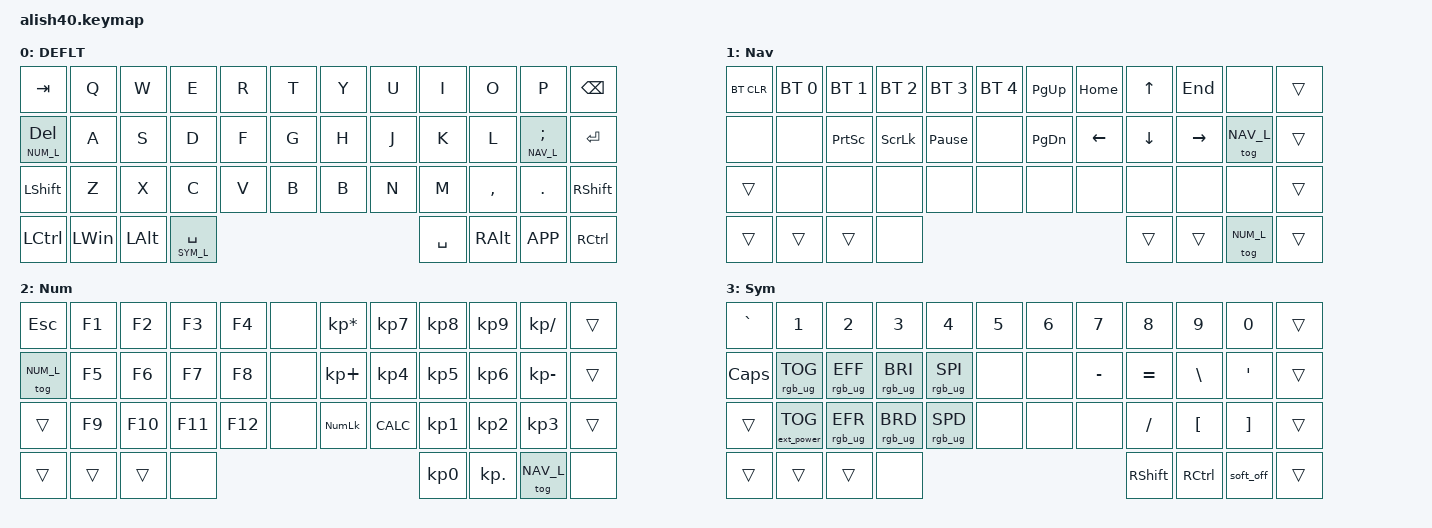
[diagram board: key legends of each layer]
#include "alish40-layouts.dtsi"
#include <behaviors.dtsi>
#include <dt-bindings/zmk/keys.h>
#include <dt-bindings/zmk/bt.h>
#include <dt-bindings/zmk/rgb.h>
#include <dt-bindings/zmk/ext_power.h>

#define MK(row, col) (((row) << 8) | (col))

#define NAV_L 1
#define NUM_L 2
#define SYM_L 3

&soft_off {
    hold-time-ms = <2000>; // Only turn off it the key is held for 2 seconds or longer.
};

/ {
    chosen {
        zmk,physical-layout = &phys_layout;
    };
     phys_layout: phys_layout {
        compatible = "zmk,physical-layout";
        display-name = "Default Layout";
        transform = <&default_transform>;
        kscan = <&default_kscan>;
        keys
            = <&zmk_key_physical_attrs 150 100 0 0 0 0 0>, <&zmk_key_physical_attrs 100 100 150 0 0 0 0>, <&zmk_key_physical_attrs 100 100 250 0 0 0 0>, <&zmk_key_physical_attrs 100 100 350 0 0 0 0>, <&zmk_key_physical_attrs 100 100 450 0 0 0 0>, <&zmk_key_physical_attrs 100 100 550 0 0 0 0>, <&zmk_key_physical_attrs 100 100 750 0 0 0 0>, <&zmk_key_physical_attrs 100 100 850 0 0 0 0>, <&zmk_key_physical_attrs 100 100 950 0 0 0 0>, <&zmk_key_physical_attrs 100 100 1050 0 0 0 0>, <&zmk_key_physical_attrs 100 100 1150 0 0 0 0>, <&zmk_key_physical_attrs 150 100 1250 0 0 0 0>
            , <&zmk_key_physical_attrs 175 100 0 100 0 0 0>, <&zmk_key_physical_attrs 100 100 175 100 0 0 0>, <&zmk_key_physical_attrs 100 100 275 100 0 0 0>, <&zmk_key_physical_attrs 100 100 375 100 0 0 0>, <&zmk_key_physical_attrs 100 100 475 100 0 0 0>, <&zmk_key_physical_attrs 100 100 575 100 0 0 0>, <&zmk_key_physical_attrs 100 100 775 100 0 0 0>, <&zmk_key_physical_attrs 100 100 875 100 0 0 0>, <&zmk_key_physical_attrs 100 100 975 100 0 0 0>, <&zmk_key_physical_attrs 100 100 1075 100 0 0 0>, <&zmk_key_physical_attrs 100 100 1175 100 0 0 0>, <&zmk_key_physical_attrs 125 100 1275 100 0 0 0>
            , <&zmk_key_physical_attrs 225 100 0 200 0 0 0>, <&zmk_key_physical_attrs 100 100 225 200 0 0 0>, <&zmk_key_physical_attrs 100 100 325 200 0 0 0>, <&zmk_key_physical_attrs 100 100 425 200 0 0 0>, <&zmk_key_physical_attrs 100 100 525 200 0 0 0>, <&zmk_key_physical_attrs 100 100 625 200 0 0 0>, <&zmk_key_physical_attrs 100 100 725 200 0 0 0>, <&zmk_key_physical_attrs 100 100 825 200 0 0 0>, <&zmk_key_physical_attrs 100 100 925 200 0 0 0>, <&zmk_key_physical_attrs 100 100 1025 200 0 0 0>, <&zmk_key_physical_attrs 100 100 1125 200 0 0 0>, <&zmk_key_physical_attrs 175 100 1225 200 0 0 0>
            , <&zmk_key_physical_attrs 125 100 0 300 0 0 0>, <&zmk_key_physical_attrs 125 100 125 300 0 0 0>, <&zmk_key_physical_attrs 125 100 350 300 0 0 0>, <&zmk_key_physical_attrs 225 100 475 300 0 0 0>, <&zmk_key_physical_attrs 275 100 700 300 0 0 0>, <&zmk_key_physical_attrs 125 100 975 300 0 0 0>, <&zmk_key_physical_attrs 125 100 1150 300 0 0 0>, <&zmk_key_physical_attrs 125 100 1275 300 0 0 0>
            ;
    };
};

/ {

    default_transform: matrix_transform {
        compatible = "zmk,matrix-transform";
        rows = <8>;
        columns = <6>;
        map = <
            MK(0,0) MK(1,0) MK(0,1) MK(1,1) MK(0,2) MK(1,2) MK(0,3) MK(1,3) MK(0,4) MK(1,4) MK(0,5) MK(1,5)
            MK(2,0) MK(3,0) MK(2,1) MK(3,1) MK(2,2) MK(3,2) MK(2,3) MK(3,3) MK(2,4) MK(3,4) MK(2,5) MK(3,5)
            MK(5,0) MK(4,0) MK(5,1) MK(4,1) MK(5,2) MK(4,2) MK(5,3) MK(4,3) MK(5,4) MK(4,4) MK(5,5) MK(4,5)
            MK(6,0) MK(7,0) MK(6,1) MK(6,2) MK(7,3) MK(6,4) MK(7,5) MK(6,5)
        >;
    };

    combos {
        compatible = "zmk,combos";
        combo_esc {
            timeout-ms = <50>;
            key-positions = <0 1>;
            bindings = <&kp ESC>;
        };
    };

    keymap {
        compatible = "zmk,keymap";

        default_layer {
            display-name = "DEFLT";
            bindings = <
                &kp TAB        &kp Q   &kp W    &kp E   &kp R   &kp T           &kp Y   &kp U   &kp I       &kp O        &kp P              &kp BACKSPACE
                &lt NUM_L DEL  &kp A   &kp S    &kp D   &kp F   &kp G           &kp H   &kp J   &kp K       &kp L        &lt NAV_L SEMI     &kp RETURN
                &kp LSHIFT     &kp Z   &kp X    &kp C   &kp V   &kp B   &kp B   &kp N   &kp M   &kp COMMA   &kp PERIOD                      &kp RSHFT
                &kp LCTRL      &kp LWIN         &kp LALT     &lt SYM_L SPACE    &kp SPACE   &kp RALT                     &kp K_APP          &kp RCTRL
            >;
        };

        nav_layer {
            display-name = "Nav";
            bindings = <
                &bt BT_CLR  &bt BT_SEL 0  &bt BT_SEL 1  &bt BT_SEL 2  &bt BT_SEL 3     &bt BT_SEL 4     &kp PG_UP   &kp HOME  &kp UP    &kp END    &none       &trans
                &none       &none         &kp PSCRN     &kp SLCK      &kp PAUSE_BREAK  &none            &kp PG_DN   &kp LEFT  &kp DOWN  &kp RIGHT  &tog NAV_L  &trans
                &trans      &none         &none         &none         &none            &none    &none   &none       &none     &none     &none             &trans
                &trans      &trans                &trans          &none                        &trans    &trans                         &tog NUM_L      &trans   
            >;
        };

        num_layer {
            display-name = "Num";
            bindings = <
                &kp ESC     &kp F1  &kp F2   &kp F3   &kp F4   &none                &kp KP_MULTIPLY  &kp KP_N7  &kp KP_N8  &kp KP_N9  &kp KP_DIVIDE  &trans
                &tog NUM_L  &kp F5  &kp F6   &kp F7   &kp F8   &none                &kp KP_PLUS      &kp KP_N4  &kp KP_N5  &kp KP_N6  &kp KP_MINUS   &trans
                &trans      &kp F9  &kp F10  &kp F11  &kp F12  &none    &kp KP_NUM  &kp K_CALC       &kp KP_N1  &kp KP_N2  &kp KP_N3                 &trans
                &trans      &trans           &trans         &none            &kp KP_N0   &kp KP_DOT                            &tog NAV_L          &none    
            >;
        };

        sym_layer {
            display-name = "Sym";
            bindings = <
                &kp GRAVE  &kp N1            &kp N2           &kp N3           &kp N4            &kp N5        &kp N6     &kp N7     &kp N8     &kp N9    &kp N0    &trans
                &kp CAPS   &rgb_ug RGB_TOG   &rgb_ug RGB_EFF  &rgb_ug RGB_BRI  &rgb_ug RGB_SPI   &none         &none      &kp MINUS  &kp EQUAL  &kp BSLH  &kp APOS  &trans
                &trans     &ext_power EP_TOG &rgb_ug RGB_EFR  &rgb_ug RGB_BRD  &rgb_ug RGB_SPD   &none  &none  &none      &kp FSLH   &kp LBKT   &kp RBKT            &trans
                &trans     &trans                             &trans                &none                      &kp RSHFT  &kp RCTRL               &soft_off         &trans   
            >;
        };

        extra1 {
            status = "reserved";
        };

        extra2 {
            status = "reserved";
        };
    };
};

&led_strip {
    chain-length = <10>;
};
